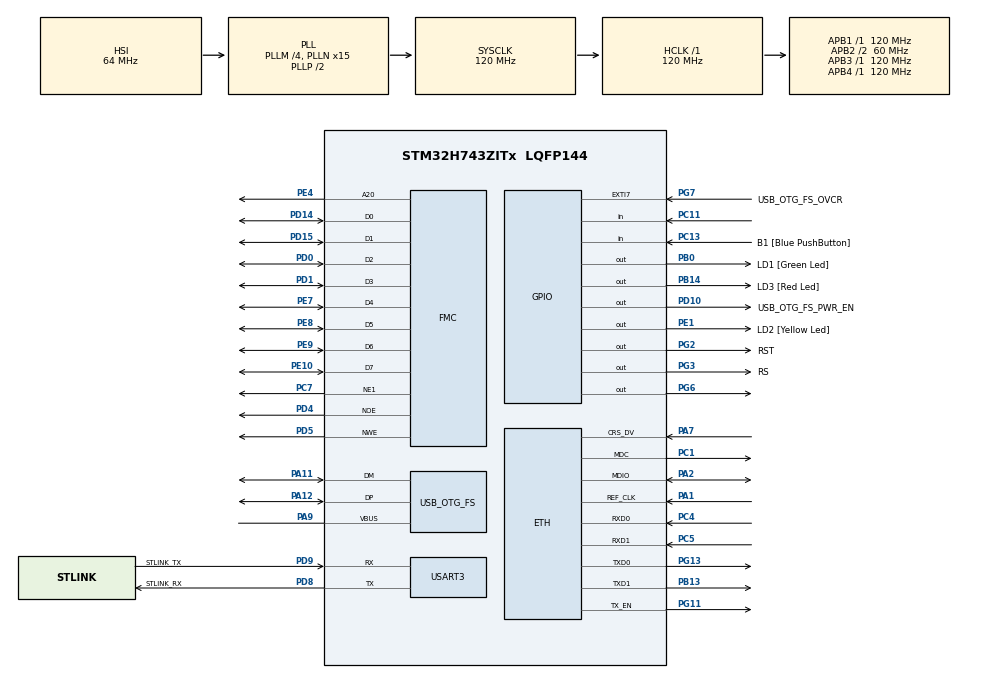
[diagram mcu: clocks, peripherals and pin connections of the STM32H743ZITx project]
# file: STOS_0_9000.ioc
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CORTEX_M7.CPU_ICache=Disabled
ETH.MediaInterface=HAL_ETH_RMII_MODE
FMC.AddressSetupTime1=0
FMC.BusTurnAroundDuration1=0
FMC.DataSetupTime1=1
FMC.ExtendedMode1=FMC_EXTENDED_MODE_DISABLE
FREERTOS.Mutexes01=lvglMutex,Dynamic,NULL
FREERTOS.Tasks01=defaultTask,24,128,StartDefaultTask,Default,NULL,Dynamic,NULL,NULL;LVGL_Timer,50,1024,LVGLTimer,As external,NULL,Dynamic,NULL,NULL;LVGL_Tick,49,1024,LVGLTick,As external,NULL,Dynamic,NULL,NULL
FREERTOS.configTOTAL_HEAP_SIZE=30000
FREERTOS.configUSE_NEWLIB_REENTRANT=1
Mcu.Family=STM32H7
Mcu.Name=STM32H743ZITx
Mcu.Package=LQFP144
NVIC.OTG_FS_IRQn=true\:5\:0\:false\:false\:true\:true\:false\:true\:true
NVIC.PriorityGroup=NVIC_PRIORITYGROUP_4
NVIC.TIM6_DAC_IRQn=true\:15\:0\:false\:false\:true\:false\:false\:true\:true
NVIC.TimeBase=TIM6_DAC_IRQn
NVIC.TimeBaseIP=TIM6
PA1.Mode=RMII
PA1.Signal=ETH_REF_CLK
PA11.Mode=Host_Only
PA11.Signal=USB_OTG_FS_DM
PA12.Mode=Host_Only
PA12.Signal=USB_OTG_FS_DP
PA2.Mode=RMII
PA2.Signal=ETH_MDIO
PA7.Mode=RMII
PA7.Signal=ETH_CRS_DV
PA8.Signal=USB_OTG_FS_SOF
PA9.Mode=Activate_VBUS
PA9.Signal=USB_OTG_FS_VBUS
PB0.GPIO_Label=LD1 [Green Led]
PB0.Signal=GPIO_Output
PB13.Mode=RMII
PB13.Signal=ETH_TXD1
PB14.GPIO_Label=LD3 [Red Led]
PB14.Signal=GPIO_Output
PC1.Mode=RMII
PC1.Signal=ETH_MDC
PC11.GPIO_PuPd=GPIO_PULLDOWN
PC11.Signal=GPIO_Input
PC13.GPIO_Label=B1 [Blue PushButton]
PC13.Signal=GPIO_Input
PC14-OSC32_IN\ (OSC32_IN).Mode=LSE-External-Oscillator
PC14-OSC32_IN\ (OSC32_IN).Signal=RCC_OSC32_IN
PC15-OSC32_OUT\ (OSC32_OUT).Mode=LSE-External-Oscillator
PC15-OSC32_OUT\ (OSC32_OUT).Signal=RCC_OSC32_OUT
PC4.Mode=RMII
PC4.Signal=ETH_RXD0
PC5.Mode=RMII
PC5.Signal=ETH_RXD1
PC7.Mode=NorPsramChipSelect1_1
PC7.Signal=FMC_NE1
PD0.Signal=FMC_D2_DA2
PD1.Signal=FMC_D3_DA3
PD10.GPIO_Label=USB_OTG_FS_PWR_EN
PD10.Signal=GPIO_Output
PD14.Signal=FMC_D0_DA0
PD15.Signal=FMC_D1_DA1
PD4.Signal=FMC_NOE
PD5.Signal=FMC_NWE
PD8.GPIO_Label=STLINK_RX
PD8.Mode=Asynchronous
PD8.Signal=USART3_TX
PD9.GPIO_Label=STLINK_TX
PD9.Mode=Asynchronous
PD9.Signal=USART3_RX
PE1.GPIO_Label=LD2 [Yellow Led]
PE1.Signal=GPIO_Output
PE10.Signal=FMC_D7_DA7
PE4.Signal=FMC_A20
PE7.Signal=FMC_D4_DA4
PE8.Signal=FMC_D5_DA5
PE9.Signal=FMC_D6_DA6
PG11.Mode=RMII
PG11.Signal=ETH_TX_EN
PG13.Mode=RMII
PG13.Signal=ETH_TXD0
PG2.GPIO_Label=RST
PG2.GPIO_Speed=GPIO_SPEED_FREQ_VERY_HIGH
PG2.Signal=GPIO_Output
PG3.GPIO_Label=RS
PG3.GPIO_Speed=GPIO_SPEED_FREQ_VERY_HIGH
PG3.Signal=GPIO_Output
PG6.Signal=GPIO_Output
PG7.GPIO_Label=USB_OTG_FS_OVCR
PG7.Signal=GPXTI7
PH0-OSC_IN\ (PH0).Mode=HSE-External-Clock-Source
PH0-OSC_IN\ (PH0).Signal=RCC_OSC_IN
PH1-OSC_OUT\ (PH1).Signal=RCC_OSC_OUT
ProjectManager.HeapSize=0x800
ProjectManager.StackSize=0x1600
ProjectManager.TargetToolchain=STM32CubeIDE
RCC.ADCFreq_Value=75000000
RCC.APB1Freq_Value=120000000
RCC.APB2Freq_Value=60000000
RCC.APB3Freq_Value=120000000
RCC.APB4Freq_Value=120000000
RCC.CortexFreq_Value=120000000
RCC.D2PPRE2=RCC_APB2_DIV2
RCC.DIVM1=4
RCC.DIVM2=4
RCC.DIVN1=15
RCC.DIVN2=9
RCC.DIVN3=512
RCC.DIVQ1=1
RCC.DIVQ2=3
RCC.HCLKFreq_Value=120000000
RCC.HSE_VALUE=8000000
RCC.PLL2FRACN=3072
RCC.PLL3FRACN=0
RCC.PLLFRACN=0
RCC.SDMMC1CLockSelection=RCC_SDMMCCLKSOURCE_PLL2
RCC.SYSCLKFreq_VALUE=120000000
RCC.SYSCLKSource=RCC_SYSCLKSOURCE_PLLCLK
RCC.Tim1Mul=1
RCC.USART234578CLockSelection=RCC_USART234578CLKSOURCE_PLL2
RCC.USBCLockSelection=RCC_USBCLKSOURCE_HSI48
RCC.USBFreq_Value=48000000
SH.FMC_A20.0=FMC_A20,A20_1
SH.FMC_D0_DA0.0=FMC_D0,8b-d1
SH.FMC_D1_DA1.0=FMC_D1,8b-d1
SH.FMC_D2_DA2.0=FMC_D2,8b-d1
SH.FMC_D3_DA3.0=FMC_D3,8b-d1
SH.FMC_D4_DA4.0=FMC_D4,8b-d1
SH.FMC_D5_DA5.0=FMC_D5,8b-d1
SH.FMC_D6_DA6.0=FMC_D6,8b-d1
SH.FMC_D7_DA7.0=FMC_D7,8b-d1
SH.FMC_NOE.0=FMC_NOE,Lcd1
SH.FMC_NWE.0=FMC_NWE,Lcd1
STMicroelectronics.X-CUBE-DISPLAY.3.0.0.BSP.number=1
STMicroelectronics.X-CUBE-DISPLAY.3.0.0.p_oswrapper=NoOS
STMicroelectronics.X-CUBE-DISPLAY.3.0.00.BSP.STBoard=false
STMicroelectronics.X-CUBE-DISPLAY.3.0.00.BSP.api=Unknown
STMicroelectronics.X-CUBE-DISPLAY.3.0.00.BSP.condition=SEMDISPLAYCcBoardOoPartJjLCDJjCustom
STMicroelectronics.X-CUBE-DISPLAY.3.0.00.BSP.instance=PG2
STMicroelectronics.X-CUBE-DISPLAY.3.0.00.BSP.ip=GPIO
STMicroelectronics.X-CUBE-DISPLAY.3.0.00.BSP.mode=Output
STMicroelectronics.X-CUBE-DISPLAY.3.0.00.BSP.name=LCD RESET Pin
STMicroelectronics.X-CUBE-DISPLAY.3.0.00.BSP.solution=PG2
STMicroelectronics.X-CUBE-DISPLAY.3.0.0_IsPackSelfContextualization=true
STMicroelectronics.X-CUBE-TOUCHGFX.4.22.0.tgfx_display_interface=disp_fmc
STMicroelectronics.X-CUBE-TOUCHGFX.4.22.0_IsPackSelfContextualization=true
USART3.VirtualMode-Asynchronous=VM_ASYNC
USB_HOST.BSP.number=1
USB_HOST.USBH_HandleTypeDef-HID_FS=hUsbHostFS
USB_HOST.USBH_PROCESS_PRIO-HID_FS=osPriorityHigh
USB_HOST.USBH_PROCESS_STACK_SIZE-HID_FS=2048
USB_HOST.VirtualModeFS=Hid
USB_HOST0.BSP.STBoard=false
USB_HOST0.BSP.api=Unknown
USB_HOST0.BSP.instance=PG6
USB_HOST0.BSP.ip=GPIO
USB_HOST0.BSP.mode=Output
USB_HOST0.BSP.name=Drive_VBUS_FS
USB_HOST0.BSP.solution=PG6
USB_OTG_FS.VirtualMode=Host_Only
USB_OTG_FS.phy_itface=HCD_PHY_EMBEDDED
VP_FREERTOS_VS_CMSIS_V2.Mode=CMSIS_V2
VP_SYS_VS_tim6.Mode=TIM6
VP_USB_HOST_VS_USB_HOST_HID_FS.Mode=HID_FS
board=NUCLEO-H743ZI2

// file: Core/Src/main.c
/* USER CODE BEGIN Header */
/**
  ******************************************************************************
  * @file           : main.c
  * @brief          : Main program body
  ******************************************************************************
  * @attention
  *
  * Copyright (c) 2023 STMicroelectronics.
  * All rights reserved.
  *
  * This software is licensed under terms that can be found in the LICENSE file
  * in the root directory of this software component.
  * If no LICENSE file comes with this software, it is provided AS-IS.
  *
  ******************************************************************************
  */
/* USER CODE END Header */
#include "main.h"
#include "string.h"
#include "cmsis_os.h"
#include "usb_host.h"

/* USER CODE BEGIN Includes */
#include "FreeRTOS.h"
#include "semphr.h"
#include "screen.h"
#include "SSD1963.h"
#include "lvgl.h"
#include <string.h>>
/* USER CODE END Includes */

#if defined ( __ICCARM__ ) /*!< IAR Compiler */
#pragma location=0x30000000
ETH_DMADescTypeDef  DMARxDscrTab[ETH_RX_DESC_CNT]; /* Ethernet Rx DMA Descriptors */
#pragma location=0x30000200
ETH_DMADescTypeDef  DMATxDscrTab[ETH_TX_DESC_CNT]; /* Ethernet Tx DMA Descriptors */

#elif defined ( __CC_ARM )  /* MDK ARM Compiler */

__attribute__((at(0x30000000))) ETH_DMADescTypeDef  DMARxDscrTab[ETH_RX_DESC_CNT]; /* Ethernet Rx DMA Descriptors */
__attribute__((at(0x30000200))) ETH_DMADescTypeDef  DMATxDscrTab[ETH_TX_DESC_CNT]; /* Ethernet Tx DMA Descriptors */

#elif defined ( __GNUC__ ) /* GNU Compiler */
ETH_DMADescTypeDef DMARxDscrTab[ETH_RX_DESC_CNT] __attribute__((section(".RxDecripSection"))); /* Ethernet Rx DMA Descriptors */
ETH_DMADescTypeDef DMATxDscrTab[ETH_TX_DESC_CNT] __attribute__((section(".TxDecripSection")));   /* Ethernet Tx DMA Descriptors */

#endif

ETH_TxPacketConfig TxConfig;

ETH_HandleTypeDef heth;

UART_HandleTypeDef huart3;

SRAM_HandleTypeDef hsram1;

/* Definitions for defaultTask */
osThreadId_t defaultTaskHandle;
const osThreadAttr_t defaultTask_attributes = {
  .name = "defaultTask",
  .stack_size = 128 * 4,
  .priority = (osPriority_t) osPriorityNormal,
};
/* Definitions for LVGL_Timer */
osThreadId_t LVGL_TimerHandle;
const osThreadAttr_t LVGL_Timer_attributes = {
  .name = "LVGL_Timer",
  .stack_size = 1024 * 4,
  .priority = (osPriority_t) osPriorityRealtime2,
};
/* Definitions for LVGL_Tick */
osThreadId_t LVGL_TickHandle;
const osThreadAttr_t LVGL_Tick_attributes = {
  .name = "LVGL_Tick",
  .stack_size = 1024 * 4,
  .priority = (osPriority_t) osPriorityRealtime1,
};
/* Definitions for lvglMutex */
osMutexId_t lvglMutexHandle;
const osMutexAttr_t lvglMutex_attributes = {
  .name = "lvglMutex"
};

void SystemClock_Config(void);
static void MX_GPIO_Init(void);
static void MX_ETH_Init(void);
static void MX_USART3_UART_Init(void);
static void MX_FMC_Init(void);
void StartDefaultTask(void *argument);
extern void LVGLTimer(void *argument);
extern void LVGLTick(void *argument);

int main(void)
{

  /* MCU Configuration--------------------------------------------------------*/

  /* Reset of all peripherals, Initializes the Flash interface and the Systick. */
  HAL_Init();

  /* Configure the system clock */
  SystemClock_Config();

  /* Initialize all configured peripherals */
  MX_GPIO_Init();
  MX_ETH_Init();
  MX_USART3_UART_Init();
  MX_FMC_Init();
  /* USER CODE BEGIN 2 */
//	SSD1963_Init();
//	SSD1963_DrawBlackScreen();
  screen_init();

  /* USER CODE END 2 */

  /* Init scheduler */
  osKernelInitialize();
  /* Create the mutex(es) */
  /* creation of lvglMutex */
  lvglMutexHandle = osMutexNew(&lvglMutex_attributes);

  /* Create the thread(s) */
  /* creation of defaultTask */
  defaultTaskHandle = osThreadNew(StartDefaultTask, NULL, &defaultTask_attributes);

  /* creation of LVGL_Timer */
  LVGL_TimerHandle = osThreadNew(LVGLTimer, NULL, &LVGL_Timer_attributes);

  /* creation of LVGL_Tick */
  LVGL_TickHandle = osThreadNew(LVGLTick, NULL, &LVGL_Tick_attributes);

  /* Start scheduler */
  osKernelStart();

  /* We should never get here as control is now taken by the scheduler */
  /* Infinite loop */
  /* USER CODE BEGIN WHILE */
  while (1)
  {
	  //lv_timer_handler();
	  //HAL_Delay(5);
    /* USER CODE END WHILE */

  }
}

void SystemClock_Config(void)
{
  RCC_OscInitTypeDef RCC_OscInitStruct = {0};
  RCC_ClkInitTypeDef RCC_ClkInitStruct = {0};

  /** Supply configuration update enable
  */
  HAL_PWREx_ConfigSupply(PWR_LDO_SUPPLY);

  /** Configure the main internal regulator output voltage
  */
  __HAL_PWR_VOLTAGESCALING_CONFIG(PWR_REGULATOR_VOLTAGE_SCALE3);

  while(!__HAL_PWR_GET_FLAG(PWR_FLAG_VOSRDY)) {}

  /** Initializes the RCC Oscillators according to the specified parameters
  * in the RCC_OscInitTypeDef structure.
  */
  RCC_OscInitStruct.OscillatorType = RCC_OSCILLATORTYPE_HSI48|RCC_OSCILLATORTYPE_HSI;
  RCC_OscInitStruct.HSIState = RCC_HSI_DIV1;
  RCC_OscInitStruct.HSICalibrationValue = RCC_HSICALIBRATION_DEFAULT;
  RCC_OscInitStruct.HSI48State = RCC_HSI48_ON;
  RCC_OscInitStruct.PLL.PLLState = RCC_PLL_ON;
  RCC_OscInitStruct.PLL.PLLSource = RCC_PLLSOURCE_HSI;
  RCC_OscInitStruct.PLL.PLLM = 4;
  RCC_OscInitStruct.PLL.PLLN = 15;
  RCC_OscInitStruct.PLL.PLLP = 2;
  RCC_OscInitStruct.PLL.PLLQ = 1;
  RCC_OscInitStruct.PLL.PLLR = 2;
  RCC_OscInitStruct.PLL.PLLRGE = RCC_PLL1VCIRANGE_3;
  RCC_OscInitStruct.PLL.PLLVCOSEL = RCC_PLL1VCOWIDE;
  RCC_OscInitStruct.PLL.PLLFRACN = 0;
  if (HAL_RCC_OscConfig(&RCC_OscInitStruct) != HAL_OK)
  {
    Error_Handler();
  }

  /** Initializes the CPU, AHB and APB buses clocks
  */
  RCC_ClkInitStruct.ClockType = RCC_CLOCKTYPE_HCLK|RCC_CLOCKTYPE_SYSCLK
                              |RCC_CLOCKTYPE_PCLK1|RCC_CLOCKTYPE_PCLK2
                              |RCC_CLOCKTYPE_D3PCLK1|RCC_CLOCKTYPE_D1PCLK1;
  RCC_ClkInitStruct.SYSCLKSource = RCC_SYSCLKSOURCE_PLLCLK;
  RCC_ClkInitStruct.SYSCLKDivider = RCC_SYSCLK_DIV1;
  RCC_ClkInitStruct.AHBCLKDivider = RCC_HCLK_DIV1;
  RCC_ClkInitStruct.APB3CLKDivider = RCC_APB3_DIV1;
  RCC_ClkInitStruct.APB1CLKDivider = RCC_APB1_DIV1;
  RCC_ClkInitStruct.APB2CLKDivider = RCC_APB2_DIV2;
  RCC_ClkInitStruct.APB4CLKDivider = RCC_APB4_DIV1;

  if (HAL_RCC_ClockConfig(&RCC_ClkInitStruct, FLASH_LATENCY_2) != HAL_OK)
  {
    Error_Handler();
  }
}

static void MX_ETH_Init(void)
{

   static uint8_t MACAddr[6];

  heth.Instance = ETH;
  MACAddr[0] = 0x00;
  MACAddr[1] = 0x80;
  MACAddr[2] = 0xE1;
  MACAddr[3] = 0x00;
  MACAddr[4] = 0x00;
  MACAddr[5] = 0x00;
  heth.Init.MACAddr = &MACAddr[0];
  heth.Init.MediaInterface = HAL_ETH_RMII_MODE;
  heth.Init.TxDesc = DMATxDscrTab;
  heth.Init.RxDesc = DMARxDscrTab;
  heth.Init.RxBuffLen = 1524;

  if (HAL_ETH_Init(&heth) != HAL_OK)
  {
    Error_Handler();
  }

  memset(&TxConfig, 0 , sizeof(ETH_TxPacketConfig));
  TxConfig.Attributes = ETH_TX_PACKETS_FEATURES_CSUM | ETH_TX_PACKETS_FEATURES_CRCPAD;
  TxConfig.ChecksumCtrl = ETH_CHECKSUM_IPHDR_PAYLOAD_INSERT_PHDR_CALC;
  TxConfig.CRCPadCtrl = ETH_CRC_PAD_INSERT;

}

static void MX_USART3_UART_Init(void)
{

  huart3.Instance = USART3;
  huart3.Init.BaudRate = 115200;
  huart3.Init.WordLength = UART_WORDLENGTH_8B;
  huart3.Init.StopBits = UART_STOPBITS_1;
  huart3.Init.Parity = UART_PARITY_NONE;
  huart3.Init.Mode = UART_MODE_TX_RX;
  huart3.Init.HwFlowCtl = UART_HWCONTROL_NONE;
  huart3.Init.OverSampling = UART_OVERSAMPLING_16;
  huart3.Init.OneBitSampling = UART_ONE_BIT_SAMPLE_DISABLE;
  huart3.Init.ClockPrescaler = UART_PRESCALER_DIV1;
  huart3.AdvancedInit.AdvFeatureInit = UART_ADVFEATURE_NO_INIT;
  if (HAL_UART_Init(&huart3) != HAL_OK)
  {
    Error_Handler();
  }
  if (HAL_UARTEx_SetTxFifoThreshold(&huart3, UART_TXFIFO_THRESHOLD_1_8) != HAL_OK)
  {
    Error_Handler();
  }
  if (HAL_UARTEx_SetRxFifoThreshold(&huart3, UART_RXFIFO_THRESHOLD_1_8) != HAL_OK)
  {
    Error_Handler();
  }
  if (HAL_UARTEx_DisableFifoMode(&huart3) != HAL_OK)
  {
    Error_Handler();
  }

}

/* FMC initialization function */
static void MX_FMC_Init(void)
{

  FMC_NORSRAM_TimingTypeDef Timing = {0};

  /** Perform the SRAM1 memory initialization sequence
  */
  hsram1.Instance = FMC_NORSRAM_DEVICE;
  hsram1.Extended = FMC_NORSRAM_EXTENDED_DEVICE;
  /* hsram1.Init */
  hsram1.Init.NSBank = FMC_NORSRAM_BANK1;
  hsram1.Init.DataAddressMux = FMC_DATA_ADDRESS_MUX_DISABLE;
  hsram1.Init.MemoryType = FMC_MEMORY_TYPE_SRAM;
  hsram1.Init.MemoryDataWidth = FMC_NORSRAM_MEM_BUS_WIDTH_8;
  hsram1.Init.BurstAccessMode = FMC_BURST_ACCESS_MODE_DISABLE;
  hsram1.Init.WaitSignalPolarity = FMC_WAIT_SIGNAL_POLARITY_LOW;
  hsram1.Init.WaitSignalActive = FMC_WAIT_TIMING_BEFORE_WS;
  hsram1.Init.WriteOperation = FMC_WRITE_OPERATION_ENABLE;
  hsram1.Init.WaitSignal = FMC_WAIT_SIGNAL_DISABLE;
  hsram1.Init.ExtendedMode = FMC_EXTENDED_MODE_DISABLE;
  hsram1.Init.AsynchronousWait = FMC_ASYNCHRONOUS_WAIT_DISABLE;
  hsram1.Init.WriteBurst = FMC_WRITE_BURST_DISABLE;
  hsram1.Init.ContinuousClock = FMC_CONTINUOUS_CLOCK_SYNC_ONLY;
  hsram1.Init.WriteFifo = FMC_WRITE_FIFO_ENABLE;
  hsram1.Init.PageSize = FMC_PAGE_SIZE_NONE;
  /* Timing */
  Timing.AddressSetupTime = 0;
  Timing.AddressHoldTime = 15;
  Timing.DataSetupTime = 1;
  Timing.BusTurnAroundDuration = 0;
  Timing.CLKDivision = 16;
  Timing.DataLatency = 17;
  Timing.AccessMode = FMC_ACCESS_MODE_A;
  /* ExtTiming */

  if (HAL_SRAM_Init(&hsram1, &Timing, NULL) != HAL_OK)
  {
    Error_Handler( );
  }

  /* USER CODE BEGIN FMC_Init 2 */
//  if (HAL_SRAM_DeInit(&hsram1) != HAL_OK)
//  {
//    Error_Handler( );
//  }
//
  hsram1.Init.MemoryType = FMC_MEMORY_TYPE_NOR;

  Timing.AddressSetupTime = 0;
  Timing.AddressHoldTime = 0;
  Timing.DataSetupTime = 1;
  Timing.BusTurnAroundDuration = 0;
  Timing.CLKDivision = 0;
  Timing.DataLatency = 0;
  Timing.AccessMode = FMC_ACCESS_MODE_A;

  if (HAL_SRAM_Init(&hsram1, &Timing, NULL) != HAL_OK)
  {
    Error_Handler( );
  }
  /* USER CODE END FMC_Init 2 */
}

static void MX_GPIO_Init(void)
{
  GPIO_InitTypeDef GPIO_InitStruct = {0};

  /* GPIO Ports Clock Enable */
  __HAL_RCC_GPIOE_CLK_ENABLE();
  __HAL_RCC_GPIOC_CLK_ENABLE();
  __HAL_RCC_GPIOH_CLK_ENABLE();
  __HAL_RCC_GPIOA_CLK_ENABLE();
  __HAL_RCC_GPIOB_CLK_ENABLE();
  __HAL_RCC_GPIOD_CLK_ENABLE();
  __HAL_RCC_GPIOG_CLK_ENABLE();

  /*Configure GPIO pin Output Level */
  HAL_GPIO_WritePin(GPIOB, LD1_Pin|LD3_Pin, GPIO_PIN_RESET);

  /*Configure GPIO pin Output Level */
  HAL_GPIO_WritePin(USB_OTG_FS_PWR_EN_GPIO_Port, USB_OTG_FS_PWR_EN_Pin, GPIO_PIN_RESET);

  /*Configure GPIO pin Output Level */
  HAL_GPIO_WritePin(GPIOG, RST_Pin|RS_Pin|GPIO_PIN_6, GPIO_PIN_RESET);

  /*Configure GPIO pin Output Level */
  HAL_GPIO_WritePin(LD2_GPIO_Port, LD2_Pin, GPIO_PIN_RESET);

  /*Configure GPIO pin : B1_Pin */
  GPIO_InitStruct.Pin = B1_Pin;
  GPIO_InitStruct.Mode = GPIO_MODE_INPUT;
  GPIO_InitStruct.Pull = GPIO_NOPULL;
  HAL_GPIO_Init(B1_GPIO_Port, &GPIO_InitStruct);

  /*Configure GPIO pins : LD1_Pin LD3_Pin */
  GPIO_InitStruct.Pin = LD1_Pin|LD3_Pin;
  GPIO_InitStruct.Mode = GPIO_MODE_OUTPUT_PP;
  GPIO_InitStruct.Pull = GPIO_NOPULL;
  GPIO_InitStruct.Speed = GPIO_SPEED_FREQ_LOW;
  HAL_GPIO_Init(GPIOB, &GPIO_InitStruct);

  /*Configure GPIO pin : USB_OTG_FS_PWR_EN_Pin */
  GPIO_InitStruct.Pin = USB_OTG_FS_PWR_EN_Pin;
  GPIO_InitStruct.Mode = GPIO_MODE_OUTPUT_PP;
  GPIO_InitStruct.Pull = GPIO_NOPULL;
  GPIO_InitStruct.Speed = GPIO_SPEED_FREQ_LOW;
  HAL_GPIO_Init(USB_OTG_FS_PWR_EN_GPIO_Port, &GPIO_InitStruct);

  /*Configure GPIO pins : RST_Pin RS_Pin */
  GPIO_InitStruct.Pin = RST_Pin|RS_Pin;
  GPIO_InitStruct.Mode = GPIO_MODE_OUTPUT_PP;
  GPIO_InitStruct.Pull = GPIO_NOPULL;
  GPIO_InitStruct.Speed = GPIO_SPEED_FREQ_VERY_HIGH;
  HAL_GPIO_Init(GPIOG, &GPIO_InitStruct);

  /*Configure GPIO pin : PG6 */
  GPIO_InitStruct.Pin = GPIO_PIN_6;
  GPIO_InitStruct.Mode = GPIO_MODE_OUTPUT_PP;
  GPIO_InitStruct.Pull = GPIO_NOPULL;
  GPIO_InitStruct.Speed = GPIO_SPEED_FREQ_LOW;
  HAL_GPIO_Init(GPIOG, &GPIO_InitStruct);

  /*Configure GPIO pin : USB_OTG_FS_OVCR_Pin */
  GPIO_InitStruct.Pin = USB_OTG_FS_OVCR_Pin;
  GPIO_InitStruct.Mode = GPIO_MODE_IT_RISING;
  GPIO_InitStruct.Pull = GPIO_NOPULL;
  HAL_GPIO_Init(USB_OTG_FS_OVCR_GPIO_Port, &GPIO_InitStruct);

  /*Configure GPIO pin : PC11 */
  GPIO_InitStruct.Pin = GPIO_PIN_11;
  GPIO_InitStruct.Mode = GPIO_MODE_INPUT;
  GPIO_InitStruct.Pull = GPIO_PULLDOWN;
  HAL_GPIO_Init(GPIOC, &GPIO_InitStruct);

  /*Configure GPIO pin : LD2_Pin */
  GPIO_InitStruct.Pin = LD2_Pin;
  GPIO_InitStruct.Mode = GPIO_MODE_OUTPUT_PP;
  GPIO_InitStruct.Pull = GPIO_NOPULL;
  GPIO_InitStruct.Speed = GPIO_SPEED_FREQ_LOW;
  HAL_GPIO_Init(LD2_GPIO_Port, &GPIO_InitStruct);

}

void StartDefaultTask(void *argument)
{
  /* init code for USB_HOST */
  MX_USB_HOST_Init();
  /* USER CODE BEGIN 5 */
  /* Infinite loop */
  for(;;)
  {
	  //osSemaphoreAcquire(binarySemaphoreISRHandle, 100);
    osDelay(1);
    //HAL_GPIO_TogglePin(LD2_GPIO_Port, LD2_Pin);
  }
  /* USER CODE END 5 */
}

void HAL_TIM_PeriodElapsedCallback(TIM_HandleTypeDef *htim)
{
  if (htim->Instance == TIM6) {
    HAL_IncTick();
  }
}

void Error_Handler(void)
{
  /* USER CODE BEGIN Error_Handler_Debug */
  /* User can add his own implementation to report the HAL error return state */
  __disable_irq();
  while (1)
  {
  	HAL_GPIO_TogglePin(LD3_GPIO_Port, LD3_Pin);
  	HAL_Delay(1000);
  }
  /* USER CODE END Error_Handler_Debug */
}
